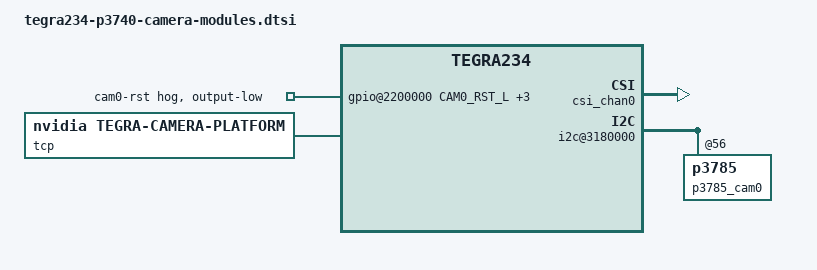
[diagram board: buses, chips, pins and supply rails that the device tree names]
/*
 * Copyright (c) 2022-2023, NVIDIA CORPORATION.  All rights reserved.
 *
 * This program is free software; you can redistribute it and/or modify it
 * under the terms and conditions of the GNU General Public License,
 * version 2, as published by the Free Software Foundation.
 *
 * This program is distributed in the hope it will be useful, but WITHOUT
 * ANY WARRANTY; without even the implied warranty of MERCHANTABILITY or
 * FITNESS FOR A PARTICULAR PURPOSE.  See the GNU General Public License for
 * more details.
 *
 * You should have received a copy of the GNU General Public License
 * along with this program.  If not, see <http://www.gnu.org/licenses/>.
 */


#include "tegra234-p3740-0000-camera-p3783-a00.dtsi"
#include "tegra234-p3740-camera-p3785.dtsi"

#define CAM0_RST_L	TEGRA234_MAIN_GPIO(H, 3)
#define CAM0_PWDN	TEGRA234_MAIN_GPIO(H, 6)
#define CAM1_RST_L	TEGRA234_MAIN_GPIO(AC, 1)
#define CAM1_PWDN	TEGRA234_MAIN_GPIO(AC, 0)

/ {
	/* set camera gpio direction to output */
	gpio@2200000 {
		camera-control-output-low {
			gpio-hog;
			output-low;
			gpios = <CAM0_RST_L 0 CAM0_PWDN 0
				 CAM1_RST_L 0 CAM1_PWDN 0>;
			label = "cam0-rst", "cam0-pwdn",
				"cam1-rst", "cam1-pwdn";
		};
	};

	/* all cameras are disabled by default */
	capture_vi_base: tegra-capture-vi {
		ports {
			vi_port0: port@0 {
				status = "okay";
				vi_in0: endpoint {
					vc-id = <0>;
					status = "okay";
				};
			};
			vi_port1: port@1 {
				status = "disabled";
				vi_in1: endpoint {
					vc-id = <0>;
					status = "disabled";
				};
			};
			vi_port2: port@2 {
				status = "disabled";
				vi_in2: endpoint {
					vc-id = <0>;
					status = "disabled";
				};
			};
			vi_port3: port@3 {
				status = "disabled";
				vi_in3: endpoint {
					vc-id = <0>;
					status = "disabled";
				};
			};
			vi_port4: port@4 {
				status = "disabled";
				vi_in4: endpoint {
					vc-id = <0>;
					status = "disabled";
				};
			};
			vi_port5: port@5 {
				status = "disabled";
				vi_in5: endpoint {
					vc-id = <0>;
					status = "disabled";
				};
			};
			vi_port6: port@6 {
				status = "disabled";
				vi_in6: endpoint {
					vc-id = <0>;
					status = "disabled";
				};
			};
			vi_port7: port@7 {
				status = "disabled";
				vi_in7: endpoint {
					vc-id = <0>;
					status = "disabled";
				};
			};
			vi_port8: port@8 {
				status = "disabled";
				vi_in8: endpoint {
					vc-id = <0>;
					status = "disabled";
				};
			};
			vi_port9: port@9 {
				status = "disabled";
				vi_in9: endpoint {
					vc-id = <0>;
					status = "disabled";
				};
			};
			vi_port10: port@10 {
				status = "disabled";
				vi_in10: endpoint {
					vc-id = <0>;
					status = "disabled";
				};
			};
			vi_port11: port@11 {
				status = "disabled";
				vi_in11: endpoint {
					vc-id = <0>;
					status = "disabled";
				};
			};
		};
	};

	host1x@13e00000 {
		csi_base: nvcsi@15a00000 {
			num-tpg-channels = <36>;
			csi_chan0: channel@0 {
				status = "okay";
				ports {
					csi_chan0_port0: port@0 {
						status = "okay";
						csi_in0: endpoint@0 {
							status = "okay";
						};
					};
					csi_chan0_port1: port@1 {
						status = "okay";
						csi_out0: endpoint@1 {
							status = "okay";
						};
					};
				};
			};
			csi_chan1: channel@1 {
				status = "disabled";
				ports {
					csi_chan1_port0: port@0 {
						status = "disabled";
						csi_in1: endpoint@2 {
							status = "disabled";
						};
					};
					csi_chan1_port1: port@1 {
						status = "disabled";
						csi_out1: endpoint@3 {
							status = "disabled";
						};
					};
				};
			};
			csi_chan2: channel@2 {
				status = "disabled";
				ports {
					csi_chan2_port0: port@0 {
						status = "disabled";
						csi_in2: endpoint@4 {
							status = "disabled";
						};
					};
					csi_chan2_port1: port@1 {
						status = "disabled";
						csi_out2: endpoint@5 {
							status = "disabled";
						};
					};
				};
			};
			csi_chan3: channel@3 {
				status = "disabled";
				ports {
					csi_chan3_port0: port@0 {
						status = "disabled";
						csi_in3: endpoint@6 {
							status = "disabled";
						};
					};
					csi_chan3_port1: port@1 {
						status = "disabled";
						csi_out3: endpoint@7 {
							status = "disabled";
						};
					};
				};
			};
			csi_chan4: channel@4 {
				status = "disabled";
				ports {
					csi_chan4_port0: port@0 {
						status = "disabled";
						csi_in4: endpoint@8 {
							status = "disabled";
						};
					};
					csi_chan4_port1: port@1 {
						status = "disabled";
						csi_out4: endpoint@9 {
							status = "disabled";
						};
					};
				};
			};
			csi_chan5: channel@5 {
				status = "disabled";
				ports {
					csi_chan5_port0: port@0 {
						status = "disabled";
						csi_in5: endpoint@10 {
							status = "disabled";
						};
					};
					csi_chan5_port1: port@1 {
						status = "disabled";
						csi_out5: endpoint@11 {
							status = "disabled";
						};
					};
				};
			};
			csi_chan6: channel@6 {
				status = "disabled";
				ports {
					csi_chan6_port0: port@0 {
						status = "disabled";
						csi_in6: endpoint@12 {
							status = "disabled";
						};
					};
					csi_chan6_port1: port@1 {
						status = "disabled";
						csi_out6: endpoint@13 {
							status = "disabled";
						};
					};
				};
			};
			csi_chan7: channel@7 {
				status = "disabled";
				ports {
					csi_chan7_port0: port@0 {
						status = "disabled";
						csi_in7: endpoint@14 {
							status = "disabled";
						};
					};
					csi_chan7_port1: port@1 {
						status = "disabled";
						csi_out7: endpoint@15 {
							status = "disabled";
						};
					};
				};
			};
			csi_chan8: channel@8 {
				status = "disabled";
				ports {
					csi_chan8_port0: port@0 {
						status = "disabled";
						csi_in8: endpoint@16 {
							status = "disabled";
						};
					};
					csi_chan8_port1: port@1 {
						status = "disabled";
						csi_out8: endpoint@17 {
							status = "disabled";
						};
					};
				};
			};
			csi_chan9: channel@9 {
				status = "disabled";
				ports {
					csi_chan9_port0: port@0 {
						status = "disabled";
						csi_in9: endpoint@18 {
							status = "disabled";
						};
					};
					csi_chan9_port1: port@1 {
						status = "disabled";
						csi_out9: endpoint@19 {
							status = "disabled";
						};
					};
				};
			};
			csi_chan10: channel@10 {
				status = "disabled";
				ports {
					csi_chan10_port0: port@0 {
						status = "disabled";
						csi_in10: endpoint@20 {
							status = "disabled";
						};
					};
					csi_chan10_port1: port@1 {
						status = "disabled";
						csi_out10: endpoint@21 {
							status = "disabled";
						};
					};
				};
			};
			csi_chan11: channel@11 {
				status = "disabled";
				ports {
					csi_chan11_port0: port@0 {
						status = "disabled";
						csi_in11: endpoint@22 {
							status = "disabled";
						};
					};
					csi_chan11_port1: port@1 {
						status = "disabled";
						csi_out11: endpoint@23 {
							status = "disabled";
						};
					};
				};
			};
		};
	};

	i2c@31e0000 {
		hawk_cam0: ar0234_a@30 {
			status = "disabled";
		};
		hawk_cam1: ar0234_b@31 {
			status = "disabled";
		};
		hawk_cam2: ar0234_c@32 {
			status = "disabled";
		};
		hawk_cam3: ar0234_d@33 {
			status = "disabled";
		};
		hawk_cam4: ar0234_e@34 {
			status = "disabled";
		};
		hawk_cam5: ar0234_f@35 {
			status = "disabled";
		};
		hawk_cam6: ar0234_g@36 {
			status = "disabled";
		};
		hawk_cam7: ar0234_h@37 {
			status = "disabled";
		};
	};
	i2c@3180000 {
		owl_cam0: ar0234_i@30 {
			status = "disabled";
		};
		owl_cam1: ar0234_j@32 {
			status = "disabled";
		};
		owl_cam2: ar0234_k@34 {
			status = "disabled";
		};
		owl_cam3: ar0234_l@36 {
			status = "disabled";
		};
		p3785_cam0: p3785@56 {
			status = "okay";
		};
	};

	tcp: tegra-camera-platform {
		compatible = "nvidia, tegra-camera-platform";
		modules {
			cam_module0: module0 {
				status = "okay";
				cam_module0_drivernode0: drivernode0 {
					status = "okay";
				};
				cam_module0_drivernode1: drivernode1 {
					status = "disabled";
					pcl_id = "v4l2_lens";
				};
			};
			cam_module1: module1 {
				status = "disabled";
				cam_module1_drivernode0: drivernode0 {
					status = "disabled";
				};
				cam_module1_drivernode1: drivernode1 {
					status = "disabled";
					pcl_id = "v4l2_lens";
				};
			};
			cam_module2: module2 {
				status = "disabled";
				cam_module2_drivernode0: drivernode0 {
					status = "disabled";
				};
				cam_module2_drivernode1: drivernode1 {
					status = "disabled";
					pcl_id = "v4l2_lens";
				};
			};
			cam_module3: module3 {
				status = "disabled";
				cam_module3_drivernode0: drivernode0 {
					status = "disabled";
				};
				cam_module3_drivernode1: drivernode1 {
					status = "disabled";
					pcl_id = "v4l2_lens";
				};
			};
			cam_module4: module4 {
				status = "disabled";
				cam_module4_drivernode0: drivernode0 {
					status = "disabled";
				};
				cam_module4_drivernode1: drivernode1 {
					status = "disabled";
					pcl_id = "v4l2_lens";
				};
			};
			cam_module5: module5 {
				status = "disabled";
				cam_module5_drivernode0: drivernode0 {
					status = "disabled";
				};
				cam_module5_drivernode1: drivernode1 {
					status = "disabled";
					pcl_id = "v4l2_lens";
				};
			};
			cam_module6: module6 {
				status = "disabled";
				cam_module6_drivernode0: drivernode0 {
					status = "disabled";
				};
				cam_module6_drivernode1: drivernode1 {
					status = "disabled";
					pcl_id = "v4l2_lens";
				};
			};
			cam_module7: module7 {
				status = "disabled";
				cam_module7_drivernode0: drivernode0 {
					status = "disabled";
				};
				cam_module7_drivernode1: drivernode1 {
					status = "disabled";
					pcl_id = "v4l2_lens";
				};
			};
			cam_module8: module8 {
				status = "disabled";
				cam_module8_drivernode0: drivernode0 {
					status = "disabled";
				};
				cam_module8_drivernode1: drivernode1 {
					status = "disabled";
					pcl_id = "v4l2_lens";
				};
			};
			cam_module9: module9 {
				status = "disabled";
				cam_module9_drivernode0: drivernode0 {
					status = "disabled";
				};
				cam_module9_drivernode1: drivernode1 {
					status = "disabled";
					pcl_id = "v4l2_lens";
				};
			};
			cam_module10: module10 {
				status = "disabled";
				cam_module10_drivernode0: drivernode0 {
					status = "disabled";
				};
				cam_module10_drivernode1: drivernode1 {
					status = "disabled";
					pcl_id = "v4l2_lens";
				};
			};
			cam_module11: module11 {
				status = "disabled";
				cam_module11_drivernode0: drivernode0 {
					status = "disabled";
				};
				cam_module11_drivernode1: drivernode1 {
					status = "disabled";
					pcl_id = "v4l2_lens";
				};
			};
		};
	};
};
